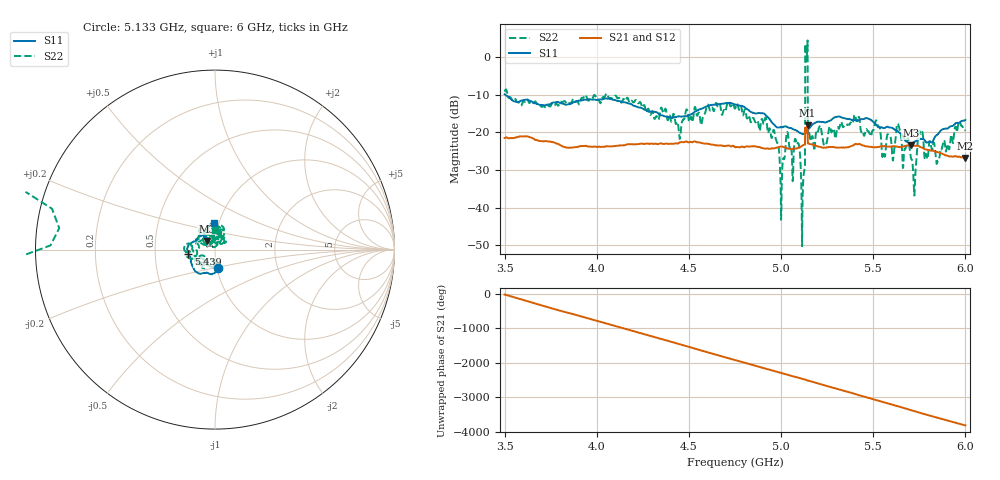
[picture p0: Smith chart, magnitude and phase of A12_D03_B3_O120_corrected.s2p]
! Created with skrf 1.9.0 (http://scikit-rf.org).
# Hz S RI R 50.0
!freq ReS11 ImS11 ReS21 ImS21 ReS12 ImS12 ReS22 ImS22
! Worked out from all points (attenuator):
!   1601 points, 3.5 GHz to 6 GHz, reference 50 ohm
!   highest |S21| = -18.09 dB at 5.144 GHz (marker M1); lowest = -26.8 dB at 5.997 GHz (marker M2)
!   lowest |S11| = -23.4 dB at 5.703 GHz (marker M3), VSWR 1.14, Z = 45.3 + j4.42 ohm
!   |S11| at or under -10 dB: 3.505 GHz to end of sweep
!   |S22| runs from -50.2 to 4.5 dB; largest |S21 - S12| = 0.0015
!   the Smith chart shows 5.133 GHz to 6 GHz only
!   S11 on the Smith chart (normalised r, x): 5.133 GHz: 1.01, -0.21; 5.439 GHz: 0.74, -0.04; 6 GHz: 0.94, +0.28
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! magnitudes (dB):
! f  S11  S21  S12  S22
! 3.5 GHz  -9.9  -21.5  -21.5  -9.1
! 3.917 GHz  -11.5  -23.6  -23.6  -10.8
! 4.334 GHz  -15.0  -23.1  -23.0  -16.6
! 4.75 GHz  -12.6  -23.9  -23.8  -13.7
! 4.966 GHz  -18.1  -24.2  -24.1  -20.3
! 5.005 GHz  -18.5  -23.7  -23.8  -31.5
! 5.033 GHz  -18.5  -24.3  -24.2  -19.8
! 5.086 GHz  -19.6  -24.2  -24.2  -23.2
! 5.117 GHz  -20.5  -23.4  -23.4  -36.6
! 5.133 GHz  -19.9  -19.3  -19.3  2.0
! 5.144 GHz  -19.4  -18.1  -18.0  4.5
! 5.167 GHz  -18.0  -23.2  -23.1  -21.1
! 5.439 GHz  -16.5  -23.4  -23.4  -20.0
! 5.523 GHz  -18.4  -23.9  -23.9  -18.0
! 5.556 GHz  -18.9  -23.7  -23.6  -25.2
! 5.584 GHz  -18.6  -23.7  -23.7  -20.7
! 5.703 GHz  -23.4  -23.5  -23.5  -26.4
! 5.722 GHz  -22.5  -23.5  -23.5  -36.1
! 5.756 GHz  -21.7  -23.9  -23.8  -20.3
! 5.85 GHz  -20.5  -25.3  -25.2  -27.5
! 5.997 GHz  -16.8  -26.8  -26.7  -19.4
! 6 GHz  -16.7  -26.7  -26.7  -19.3
